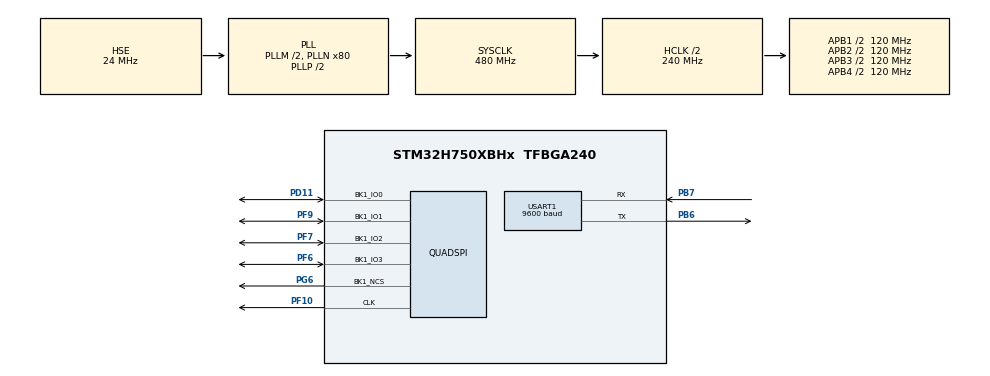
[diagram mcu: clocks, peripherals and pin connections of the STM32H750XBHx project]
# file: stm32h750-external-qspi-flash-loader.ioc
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CORTEX_M7.AccessPermission-Cortex_Memory_Protection_Unit_Region0_Settings=MPU_REGION_FULL_ACCESS
CORTEX_M7.AccessPermission-Cortex_Memory_Protection_Unit_Region1_Settings=MPU_REGION_NO_ACCESS
CORTEX_M7.AccessPermission-Cortex_Memory_Protection_Unit_Region2_Settings=MPU_REGION_FULL_ACCESS
CORTEX_M7.AccessPermission-Cortex_Memory_Protection_Unit_Region4_Settings=MPU_REGION_FULL_ACCESS
CORTEX_M7.BaseAddress-Cortex_Memory_Protection_Unit_Region0_Settings=0x24000000
CORTEX_M7.BaseAddress-Cortex_Memory_Protection_Unit_Region1_Settings=0x90000000
CORTEX_M7.BaseAddress-Cortex_Memory_Protection_Unit_Region2_Settings=0x90000000
CORTEX_M7.BaseAddress-Cortex_Memory_Protection_Unit_Region3_Settings=0xD0000000
CORTEX_M7.BaseAddress-Cortex_Memory_Protection_Unit_Region4_Settings=0xD0000000
CORTEX_M7.CPU_DCache=Disabled
CORTEX_M7.CPU_ICache=Disabled
CORTEX_M7.DisableExec-Cortex_Memory_Protection_Unit_Region0_Settings=MPU_INSTRUCTION_ACCESS_DISABLE
CORTEX_M7.DisableExec-Cortex_Memory_Protection_Unit_Region1_Settings=MPU_INSTRUCTION_ACCESS_DISABLE
CORTEX_M7.DisableExec-Cortex_Memory_Protection_Unit_Region2_Settings=MPU_INSTRUCTION_ACCESS_ENABLE
CORTEX_M7.DisableExec-Cortex_Memory_Protection_Unit_Region3_Settings=MPU_INSTRUCTION_ACCESS_DISABLE
CORTEX_M7.DisableExec-Cortex_Memory_Protection_Unit_Region4_Settings=MPU_INSTRUCTION_ACCESS_DISABLE
CORTEX_M7.Enable-Cortex_Memory_Protection_Unit_Region0_Settings=MPU_REGION_ENABLE
CORTEX_M7.Enable-Cortex_Memory_Protection_Unit_Region1_Settings=MPU_REGION_ENABLE
CORTEX_M7.Enable-Cortex_Memory_Protection_Unit_Region2_Settings=MPU_REGION_ENABLE
CORTEX_M7.Enable-Cortex_Memory_Protection_Unit_Region3_Settings=MPU_REGION_ENABLE
CORTEX_M7.Enable-Cortex_Memory_Protection_Unit_Region4_Settings=MPU_REGION_ENABLE
CORTEX_M7.Enable_Spec=__NULL
CORTEX_M7.IsBufferable-Cortex_Memory_Protection_Unit_Region0_Settings=MPU_ACCESS_BUFFERABLE
CORTEX_M7.IsBufferable-Cortex_Memory_Protection_Unit_Region1_Settings=MPU_ACCESS_NOT_BUFFERABLE
CORTEX_M7.IsBufferable-Cortex_Memory_Protection_Unit_Region2_Settings=MPU_ACCESS_BUFFERABLE
CORTEX_M7.IsCacheable-Cortex_Memory_Protection_Unit_Region0_Settings=MPU_ACCESS_CACHEABLE
CORTEX_M7.IsCacheable-Cortex_Memory_Protection_Unit_Region1_Settings=MPU_ACCESS_NOT_CACHEABLE
CORTEX_M7.IsCacheable-Cortex_Memory_Protection_Unit_Region2_Settings=MPU_ACCESS_CACHEABLE
CORTEX_M7.IsCacheable-Cortex_Memory_Protection_Unit_Region4_Settings=MPU_ACCESS_CACHEABLE
CORTEX_M7.IsShareable-Cortex_Memory_Protection_Unit_Region1_Settings=MPU_ACCESS_NOT_SHAREABLE
CORTEX_M7.MPU_Control=__NULL
CORTEX_M7.Size-Cortex_Memory_Protection_Unit_Region0_Settings=MPU_REGION_SIZE_512KB
CORTEX_M7.Size-Cortex_Memory_Protection_Unit_Region1_Settings=MPU_REGION_SIZE_256MB
CORTEX_M7.Size-Cortex_Memory_Protection_Unit_Region2_Settings=MPU_REGION_SIZE_128MB
CORTEX_M7.Size-Cortex_Memory_Protection_Unit_Region3_Settings=MPU_REGION_SIZE_256MB
CORTEX_M7.Size-Cortex_Memory_Protection_Unit_Region4_Settings=MPU_REGION_SIZE_16MB
CORTEX_M7.default_mode_Activation=0
Mcu.Family=STM32H7
Mcu.Name=STM32H750XBHx
Mcu.Package=TFBGA240
NVIC.PriorityGroup=NVIC_PRIORITYGROUP_4
NVIC.QUADSPI_IRQn=true\:0\:0\:false\:false\:true\:true\:true\:true
PA13\ (JTMS/SWDIO).Mode=JTAG_5_pins
PA13\ (JTMS/SWDIO).Signal=DEBUG_JTMS-SWDIO
PA14\ (JTCK/SWCLK).Mode=JTAG_5_pins
PA14\ (JTCK/SWCLK).Signal=DEBUG_JTCK-SWCLK
PA15\ (JTDI).Mode=JTAG_5_pins
PA15\ (JTDI).Signal=DEBUG_JTDI
PB3\ (JTDO/TRACESWO).Mode=JTAG_5_pins
PB3\ (JTDO/TRACESWO).Signal=DEBUG_JTDO-SWO
PB4\ (NJTRST).Mode=JTAG_5_pins
PB4\ (NJTRST).Signal=DEBUG_JTRST
PB6.Mode=Asynchronous
PB6.Signal=USART1_TX
PB7.Mode=Asynchronous
PB7.Signal=USART1_RX
PC14-OSC32_IN\ (OSC32_IN).Mode=LSE-External-Oscillator
PC14-OSC32_IN\ (OSC32_IN).Signal=RCC_OSC32_IN
PC15-OSC32_OUT\ (OSC32_OUT).Mode=LSE-External-Oscillator
PC15-OSC32_OUT\ (OSC32_OUT).Signal=RCC_OSC32_OUT
PD11.Mode=Single Bank 1
PD11.Signal=QUADSPI_BK1_IO0
PF10.Mode=Single Bank 1
PF10.Signal=QUADSPI_CLK
PF6.Mode=Single Bank 1
PF6.Signal=QUADSPI_BK1_IO3
PF7.Mode=Single Bank 1
PF7.Signal=QUADSPI_BK1_IO2
PF9.Mode=Single Bank 1
PF9.Signal=QUADSPI_BK1_IO1
PG6.Mode=Single Bank 1
PG6.Signal=QUADSPI_BK1_NCS
PH0-OSC_IN\ (PH0).Mode=HSE-External-Oscillator
PH0-OSC_IN\ (PH0).Signal=RCC_OSC_IN
PH1-OSC_OUT\ (PH1).Mode=HSE-External-Oscillator
PH1-OSC_OUT\ (PH1).Signal=RCC_OSC_OUT
ProjectManager.HeapSize=0x1000
ProjectManager.StackSize=0x1000
ProjectManager.TargetToolchain=STM32CubeIDE
QUADSPI.ChipSelectHighTime=QSPI_CS_HIGH_TIME_2_CYCLE
QUADSPI.ClockPrescaler=10
QUADSPI.FifoThreshold=4
QUADSPI.FlashSize=25
RCC.ADCFreq_Value=78000000
RCC.APB1Freq_Value=120000000
RCC.APB2Freq_Value=120000000
RCC.APB3Freq_Value=120000000
RCC.APB4Freq_Value=120000000
RCC.CortexFreq_Value=480000000
RCC.D1PPRE=RCC_APB3_DIV2
RCC.D2PPRE1=RCC_APB1_DIV2
RCC.D2PPRE2=RCC_APB2_DIV2
RCC.D3PPRE=RCC_APB4_DIV2
RCC.DIVM1=2
RCC.DIVM2=2
RCC.DIVM3=1
RCC.DIVN1=80
RCC.DIVN2=13
RCC.DIVN3=8
RCC.DIVQ1=20
RCC.DIVQ3=4
RCC.DIVR1=6
RCC.DIVR3=20
RCC.FMCCLockSelection=RCC_FMCCLKSOURCE_PLL2
RCC.HCLKFreq_Value=240000000
RCC.HPRE=RCC_HCLK_DIV2
RCC.HSE_Timout=100
RCC.HSE_VALUE=24000000
RCC.HSIDiv=RCC_PLLSAIDIVR_4
RCC.PLL2FRACN=0
RCC.PLL3FRACN=0
RCC.PLLFRACN=0
RCC.PLLSourceVirtual=RCC_PLLSOURCE_HSE
RCC.PWR_Regulator_Voltage_Scale=PWR_REGULATOR_VOLTAGE_SCALE0
RCC.QSPICLockSelection=RCC_QSPICLKSOURCE_PLL2
RCC.RCC_TIM_PRescaler_Selection=RCC_TIMPRES_DESACTIVATED
RCC.SYSCLKFreq_VALUE=480000000
RCC.SYSCLKSource=RCC_SYSCLKSOURCE_PLLCLK
RCC.SupplySource=PWR_LDO_SUPPLY
RCC.USBFreq_Value=48000000
STMicroelectronics.X-CUBE-TOUCHGFX.4.26.0.tgfx_buffering_strategy=Double
STMicroelectronics.X-CUBE-TOUCHGFX.4.26.0.tgfx_display_interface=disp_ltdc
STMicroelectronics.X-CUBE-TOUCHGFX.4.26.0.tgfx_hardware_accelerator=dma_2d
STMicroelectronics.X-CUBE-TOUCHGFX.4.26.0.tgfx_oswrapper=CMSIS V2
STMicroelectronics.X-CUBE-TOUCHGFX.4.26.0.tgfx_vector_fonts=Enabled
STMicroelectronics.X-CUBE-TOUCHGFX.4.26.0.tgfx_vector_rendering=Software
STMicroelectronics.X-CUBE-TOUCHGFX.4.26.0.tgfx_vsync=vsync_ltdc
STMicroelectronics.X-CUBE-TOUCHGFX.4.26.0_IsPackSelfContextualization=true
USART1.BaudRate=9600
USART1.SwapParam=ADVFEATURE_SWAP_DISABLE
USART1.VirtualMode-Asynchronous=VM_ASYNC
VP_MEMORYMAP_VS_MEMORYMAP.Mode=CurAppReg
board=custom

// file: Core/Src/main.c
/* USER CODE BEGIN Header */
/**
  ******************************************************************************
  * @file           : main.c
  * @brief          : Main program body
  ******************************************************************************
  * @attention
  *
  * Copyright (c) 2025 STMicroelectronics.
  * All rights reserved.
  *
  * This software is licensed under terms that can be found in the LICENSE file
  * in the root directory of this software component.
  * If no LICENSE file comes with this software, it is provided AS-IS.
  *
  ******************************************************************************
  */
/* USER CODE END Header */
#include "main.h"
#include "quadspi.h"
#include "usart.h"
#include "gpio.h"

/* USER CODE BEGIN Includes */
#include <string.h>
#define SECTORS_COUNT 100
/* USER CODE END Includes */

/* USER CODE BEGIN PV */
uint8_t buffer_test[MEMORY_SECTOR_SIZE];
uint32_t var = 0;
/* USER CODE END PV */

void SystemClock_Config(void);

int main(void)
{

  /* MCU Configuration--------------------------------------------------------*/

  /* Reset of all peripherals, Initializes the Flash interface and the Systick. */
  HAL_Init();

  /* Configure the system clock */
  SystemClock_Config();

  /* Initialize all configured peripherals */
  MX_GPIO_Init();
  MX_USART1_UART_Init();
  MX_QUADSPI_Init();
  /* USER CODE BEGIN 2 */
  CSP_QUADSPI_Init();

  for (var = 0; var < MEMORY_SECTOR_SIZE; var++) {
      buffer_test[var] = (var & 0xff);
  }

  for (var = 0; var < SECTORS_COUNT; var++) {

      if (CSP_QSPI_EraseSector(var * MEMORY_SECTOR_SIZE,
                               (var + 1) * MEMORY_SECTOR_SIZE - 1) != HAL_OK) {

          while (1)
              ;  //breakpoint - error detected
      }

      if (CSP_QSPI_WriteMemory(buffer_test, var * MEMORY_SECTOR_SIZE, sizeof(buffer_test)) != HAL_OK) {

          while (1)
              ;  //breakpoint - error detected
      }

  }

  if (CSP_QSPI_EnableMemoryMappedMode() != HAL_OK) {

      while (1)
          ; //breakpoint - error detected
  }

  for (var = 0; var < SECTORS_COUNT; var++) {
      if (memcmp(buffer_test,
                 (uint8_t*) (0x90000000 + var * MEMORY_SECTOR_SIZE),
                 MEMORY_SECTOR_SIZE) != HAL_OK) {
          while (1)
              ;  //breakpoint - error detected - otherwise QSPI works properly
      }
  }
  /* USER CODE END 2 */

  /* Infinite loop */
  while (1)
  {

  }
}

void SystemClock_Config(void)
{
  RCC_OscInitTypeDef RCC_OscInitStruct = {0};
  RCC_ClkInitTypeDef RCC_ClkInitStruct = {0};

  /** Supply configuration update enable
  */
  HAL_PWREx_ConfigSupply(PWR_LDO_SUPPLY);

  /** Configure the main internal regulator output voltage
  */
  __HAL_PWR_VOLTAGESCALING_CONFIG(PWR_REGULATOR_VOLTAGE_SCALE0);

  while(!__HAL_PWR_GET_FLAG(PWR_FLAG_VOSRDY)) {}

  /** Initializes the RCC Oscillators according to the specified parameters
  * in the RCC_OscInitTypeDef structure.
  */
  RCC_OscInitStruct.OscillatorType = RCC_OSCILLATORTYPE_HSE;
  RCC_OscInitStruct.HSEState = RCC_HSE_ON;
  RCC_OscInitStruct.PLL.PLLState = RCC_PLL_ON;
  RCC_OscInitStruct.PLL.PLLSource = RCC_PLLSOURCE_HSE;
  RCC_OscInitStruct.PLL.PLLM = 2;
  RCC_OscInitStruct.PLL.PLLN = 80;
  RCC_OscInitStruct.PLL.PLLP = 2;
  RCC_OscInitStruct.PLL.PLLQ = 20;
  RCC_OscInitStruct.PLL.PLLR = 6;
  RCC_OscInitStruct.PLL.PLLRGE = RCC_PLL1VCIRANGE_3;
  RCC_OscInitStruct.PLL.PLLVCOSEL = RCC_PLL1VCOWIDE;
  RCC_OscInitStruct.PLL.PLLFRACN = 0;
  if (HAL_RCC_OscConfig(&RCC_OscInitStruct) != HAL_OK)
  {
    Error_Handler();
  }

  /** Initializes the CPU, AHB and APB buses clocks
  */
  RCC_ClkInitStruct.ClockType = RCC_CLOCKTYPE_HCLK|RCC_CLOCKTYPE_SYSCLK
                              |RCC_CLOCKTYPE_PCLK1|RCC_CLOCKTYPE_PCLK2
                              |RCC_CLOCKTYPE_D3PCLK1|RCC_CLOCKTYPE_D1PCLK1;
  RCC_ClkInitStruct.SYSCLKSource = RCC_SYSCLKSOURCE_PLLCLK;
  RCC_ClkInitStruct.SYSCLKDivider = RCC_SYSCLK_DIV1;
  RCC_ClkInitStruct.AHBCLKDivider = RCC_HCLK_DIV2;
  RCC_ClkInitStruct.APB3CLKDivider = RCC_APB3_DIV2;
  RCC_ClkInitStruct.APB1CLKDivider = RCC_APB1_DIV2;
  RCC_ClkInitStruct.APB2CLKDivider = RCC_APB2_DIV2;
  RCC_ClkInitStruct.APB4CLKDivider = RCC_APB4_DIV2;

  if (HAL_RCC_ClockConfig(&RCC_ClkInitStruct, FLASH_LATENCY_4) != HAL_OK)
  {
    Error_Handler();
  }
}

void Error_Handler(void)
{
  /* USER CODE BEGIN Error_Handler_Debug */
  /* User can add his own implementation to report the HAL error return state */
  __disable_irq();
  while (1)
  {
//	  uint32_t cr = RCC->CR;
//
//	  uint8_t HSEON = (cr & RCC_CR_HSEON) ? 1UL : 0UL;
//	  uint8_t HSERDY = (cr & RCC_CR_HSERDY) ? 1UL : 0UL;
//
//	  asm("NOP");

  }
  /* USER CODE END Error_Handler_Debug */
}
